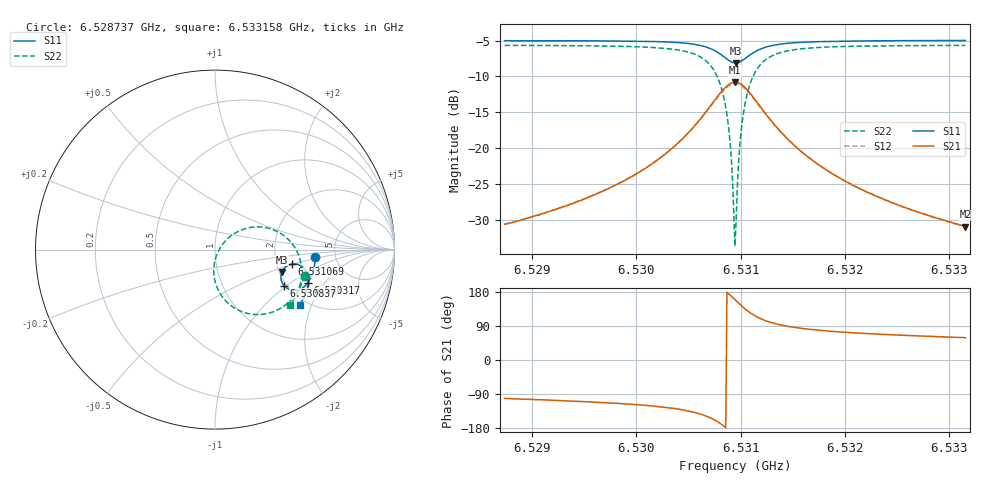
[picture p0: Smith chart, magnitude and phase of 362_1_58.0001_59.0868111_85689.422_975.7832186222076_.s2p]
#  HZ  S  RI  R  50.00
! Rohde & Schwarz Vector Network Analyzer
! Rohde-Schwarz,ZNB20-2Port,1311601062101988,3.16
! Created: UTC 3/21/2024, 1:06:27 AM
! freq[Hz]  re:S11  im:S11  re:S21  im:S21  re:S12  im:S12  re:S22  im:S22
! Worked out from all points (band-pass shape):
!   401 points, 6.528737 GHz to 6.533158 GHz, reference 50 ohm
!   highest |S21| = -10.81 dB at 6.530947 GHz (marker M1); lowest = -31.0 dB at 6.533158 GHz (marker M2)
!   |S21| within 3 dB of the highest: 6.530727 GHz to 6.531169 GHz (441.5 kHz wide, 0.00676 % of centre)
!   lowest |S11| = -8.1 dB at 6.530958 GHz (marker M3), VSWR 2.30, Z = 103 - j30.6 ohm
!   |S11| at or under -10 dB: nowhere
!   |S22| runs from -33.7 to -5.7 dB; largest |S21 - S12| = 0.011
!   S11 on the Smith chart (normalised r, x): 6.528737 GHz: 3.50, -0.44; 6.530317 GHz: 2.60, -1.39; 6.530837 GHz: 1.94, -0.97; 6.531069 GHz: 2.42, -0.48; 6.533158 GHz: 1.82, -1.65
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6.5287365e9  0.5598 -0.0431  -0.00575 -0.0288  -0.00639 -0.0285  0.4999 -0.1463
6.5294771e9  0.5507 -0.1038  -0.0146 -0.0407  -0.0155 -0.0406  0.4715 -0.2137
6.5302176e9  0.5241 -0.1751  -0.0457 -0.0702  -0.0477 -0.0692  0.3952 -0.3063
6.5303171e9  0.5163 -0.1867  -0.0566 -0.0771  -0.0586 -0.0756  0.3724 -0.3227
6.5306708e9  0.4538 -0.2262  -0.1523 -0.0954  -0.1544 -0.0895  0.1902 -0.3574
6.5307703e9  0.4149 -0.222  -0.2124 -0.0723  -0.2122 -0.0637  0.0872 -0.3103
6.5308366e9  0.3861 -0.2024  -0.2554 -0.0282  -0.2515 -0.0191  0.0202 -0.2295
6.5308698e9  0.3745 -0.1852  -0.2714 0.0054  -0.265 0.0138  -0.00128 -0.1708
6.5308919e9  0.3693 -0.1714  -0.2773 0.0316  -0.2695 0.0391  -0.00676 -0.1262
6.5309029e9  0.3679 -0.1639  -0.2784 0.0456  -0.2701 0.0525  -0.00655 -0.103
6.530925e9  0.3672 -0.1484  -0.2765 0.0742  -0.2673 0.0796  0.000796 -0.0559
6.5309361e9  0.3681 -0.1404  -0.2735 0.0887  -0.264 0.0931  0.00812 -0.0329
6.5309472e9  0.3699 -0.1328  -0.269 0.1026  -0.2594 0.1062  0.0177 -0.0106
6.5309582e9  0.3725 -0.1253  -0.2632 0.1162  -0.2535 0.1187  0.0295 0.0109
6.5310024e9  0.3903 -0.0996  -0.2282 0.1617  -0.2195 0.1613  0.0938 0.0802
6.5310356e9  0.4083 -0.0872  -0.1949 0.1837  -0.1877 0.1818  0.1525 0.1116
6.5310687e9  0.4275 -0.0811  -0.1605 0.1954  -0.155 0.1928  0.2117 0.1253
6.5311461e9  0.4659 -0.0844  -0.0927 0.1936  -0.0897 0.1911  0.3258 0.1101
6.5312566e9  0.4985 -0.107  -0.0356 0.1638  -0.0341 0.1626  0.4188 0.0459
6.5316877e9  0.5198 -0.1829  0.014 0.081  0.015 0.0808  0.4831 -0.1302
6.5324283e9  0.4996 -0.2556  0.0166 0.0387  0.0173 0.0386  0.4554 -0.2456
6.5331578e9  0.4715 -0.3089  0.0146 0.0242  0.0151 0.0241  0.4199 -0.3078
